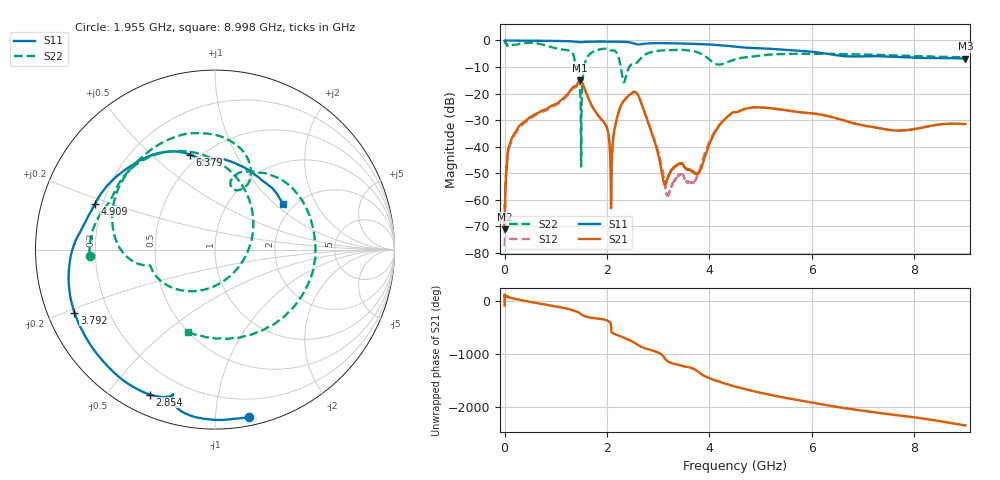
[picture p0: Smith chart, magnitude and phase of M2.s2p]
# Hz S DB R 50
! CMT, C1420, 19038819, 22.4.2/3
! Date: 2023-03-14 09:45:42
! Data: Format (Calibration Info)
! Freq	S11:dB/Ang(F2)	S21:dB/Ang(F2)	S12:dB/Ang(F2)	S22:dB/Ang(F2)
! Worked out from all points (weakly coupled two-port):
!   9001 points, 300 kHz to 9 GHz, reference 50 ohm
!   highest |S21| = -15.02 dB at 1.474 GHz (marker M1); lowest = -71.1 dB at 300 kHz (marker M2)
!   lowest |S11| = -6.9 dB at 9 GHz (marker M3), VSWR 2.66, Z = 88.3 + j55.8 ohm
!   |S11| at or under -10 dB: nowhere
!   |S22| runs from -47.4 to -0.1 dB; largest |S21 - S12| = 0.009
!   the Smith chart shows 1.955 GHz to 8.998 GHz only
!   S11 on the Smith chart (normalised r, x): 1.955 GHz: 0.06, -1.22; 2.854 GHz: 0.09, -0.64; 3.792 GHz: 0.08, -0.21; 4.909 GHz: 0.17, +0.18; 6.379 GHz: 0.44, +0.67; 8.998 GHz: 1.76, +1.12
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300000  -0.05 -0.2  -71.09 -93.3  -77.41 77.3  -0.05 -0.7
9.62968e7  -0.03 -4.1  -39.25 59.2  -40.24 60.7  -1.62 -57.2
3.89287e8  -0.09 -15.8  -30.53 -2.3  -31.08 -1.5  -1.01 -173.8
6.662778e8  -0.13 -26.7  -27.14 -52.1  -27.60 -51.5  -1.23 101.1
9.362688e8  -0.19 -37.6  -24.40 -99.6  -24.88 -99.0  -2.60 16.2
1.228259e9  -0.27 -49.9  -20.28 -152.5  -20.77 -151.7  -3.68 -78.6
1.474251e9  -0.67 -59.6  -15.02 118.6  -15.35 120.3  -18.17 177.6
1.50025e9  -0.68 -59.9  -15.36 101.3  -15.59 102.9  -28.68 -31.9
1.955235e9  -0.42 -78.5  -31.10 2.0  -31.26 -0.3  -3.11 -177.1
2.08623e9  -0.46 -84.1  -51.36 132.0  -54.02 157.0  -3.82 152.0
2.286224e9  -0.50 -93.5  -23.88 38.7  -24.19 39.0  -11.96 32.2
2.854205e9  -1.06 -114.1  -33.64 147.8  -33.37 147.9  -4.44 162.8
3.0002e9  -1.01 -120.6  -42.84 100.8  -41.66 104.5  -3.90 146.8
3.187194e9  -1.04 -129.0  -51.65 -68.3  -58.45 -34.6  -3.67 129.4
3.792174e9  -1.33 -155.8  -49.79 89.8  -49.41 60.1  -4.62 77.1
4.50015e9  -2.34 173.7  -26.99 176.4  -26.90 177.6  -7.11 73.6
4.909136e9  -2.91 159.0  -25.16 79.0  -25.16 80.2  -5.86 56.6
6.0001e9  -4.28 117.2  -27.44 -124.2  -27.43 -124.3  -5.06 8.1
6.379087e9  -5.22 104.8  -28.76 170.8  -28.77 171.3  -5.06 -7.5
7.50005e9  -6.06 79.2  -33.63 15.1  -33.61 14.3  -5.52 -52.1
8.998e9  -6.86 33.7  -31.45 162.5  -31.49 160.6  -6.34 -108.0
9e9  -6.86 33.6  -31.44 162.2  -31.50 160.3  -6.34 -108.1
